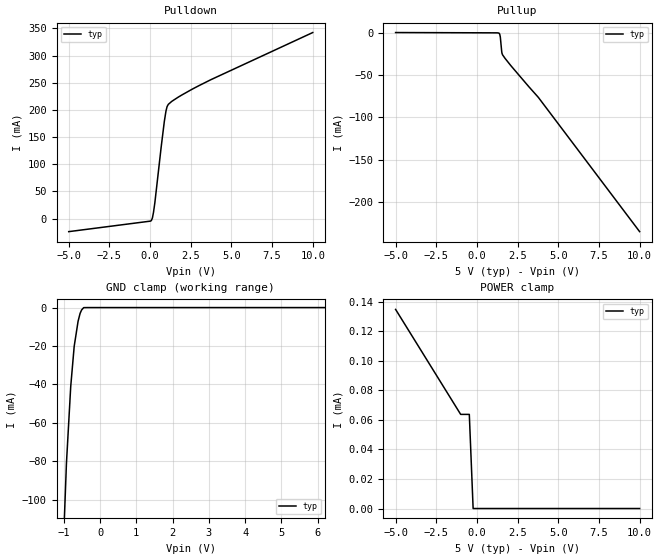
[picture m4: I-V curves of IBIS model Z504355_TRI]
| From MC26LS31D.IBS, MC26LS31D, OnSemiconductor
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| (C) COPYRIGHT 1993-2000
| MENTOR GRAPHICS CORPORATION
| ICX STANDARD LIBRARY, ICX PROJECT MODELING,
| ICX CUSTOM MODELING, ICX VENDOR MODEL
| ALL RIGHTS RESERVED.
| THE FOLLOWING ARE TRADEMARKS OR SERVICE MARKS OF
| MENTOR GRAPHICS CORPORATION:ICX (R), ICX STANDARD
| LIBRARY(R), ICX PROJECT MODELING(R), ICX CUSTOM
| MODELING(R), qualityIBIS(TM), MODELVIEWER(TM),
| AND MODELEDITOR(TM)
| ALL COPIES OF SOFTWARE, INCLUDING BUT NOT LIMITED TO
| ANY MODIFICATIONS, ENHANCEMENTS OR DERIVATIVE WORKS,
| MUST CONTAIN ALL MENTOR GRAPHICS CORPORATION'S
| NOTICES AND LEGENDS, INCLUDING THOSE EMBEDDED IN
| SOFTWARE AND THOSE AFFIXED TO SOFTWARE MEDIUM
| AND CONTAINER, AS RECEIVED FROM MENTOR GRAPHICS
| CORPORATION.
| Model Application Version 1.89 2/18/99.
[Model] Z504355_TRI
Model_type 3-state
Vref=1.471V
Rref=52.94ohms
Cref=30.00pF
Vmeas=1.300V
C_comp 8.000pF NA NA
| variable typ   min   max
[Voltage Range] 5.000V NA NA
[POWER Clamp Reference] 5.000V NA NA
[Pullup Reference] 5.000V NA NA
[Pulldown Reference] 0.000V NA NA
[GND Clamp Reference] 0.000V NA NA
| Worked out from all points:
|   slope of the pulldown table from 0 to 0.75 V, typ, clamps not added: 4.91 ohm
|   slope of the pullup table from 0 to 0.75 V, typ, clamps not added: 17.1 kohm
|   GND clamp passes 1 mA (typ) near -0.50 V on its own axis
[GND Clamp]
-5V       -2.139A    NA         NA
-926.9mV  -81.27mA   NA         NA
-808.5mV  -41.07mA   NA         NA
-713mV    -20.19mA   NA         NA
-605.3mV  -7.088mA   NA         NA
-550.6mV  -3.049mA   NA         NA
-508.3mV  -1.241mA   NA         NA
-451.1mV  -34.97uA   NA         NA
-360.9mV  0A         NA         NA
10V       0A         NA         NA
[Pulldown]
-5V       -24.18mA   NA         NA
46.12mV   -4.528mA   NA         NA
144.3mV   997uA      NA         NA
295mV     29.23mA    NA         NA
684.5mV   132mA      NA         NA
876mV     178.6mA    NA         NA
977.4mV   197.9mA    NA         NA
1.046V    206.1mA    NA         NA
1.121V    210.2mA    NA         NA
1.966V    227.7mA    NA         NA
3.726V    255.5mA    NA         NA
10V       342.5mA    NA         NA
[Pullup]
-5V       529.4uA    NA         NA
1.363V    -290.9uA   NA         NA
1.402V    -1.564mA   NA         NA
1.437V    -4.775mA   NA         NA
1.521V    -21.72mA   NA         NA
1.538V    -23.94mA   NA         NA
1.576V    -25.87mA   NA         NA
1.733V    -30.19mA   NA         NA
3.774V    -76.23mA   NA         NA
10V       -235.2mA   NA         NA
[POWER Clamp]
-5V       134.7uA    NA         NA
-999.5mV  63.68uA    NA         NA
-469mV    63.68uA    NA         NA
-234.5mV  0A         NA         NA
10V       0A         NA         NA
[Ramp]
| variable typ min max
dV/dt_r 2.054/5.515n NA NA
dV/dt_f 2.054/3.057n NA NA
R_load = 500.0Ohms
